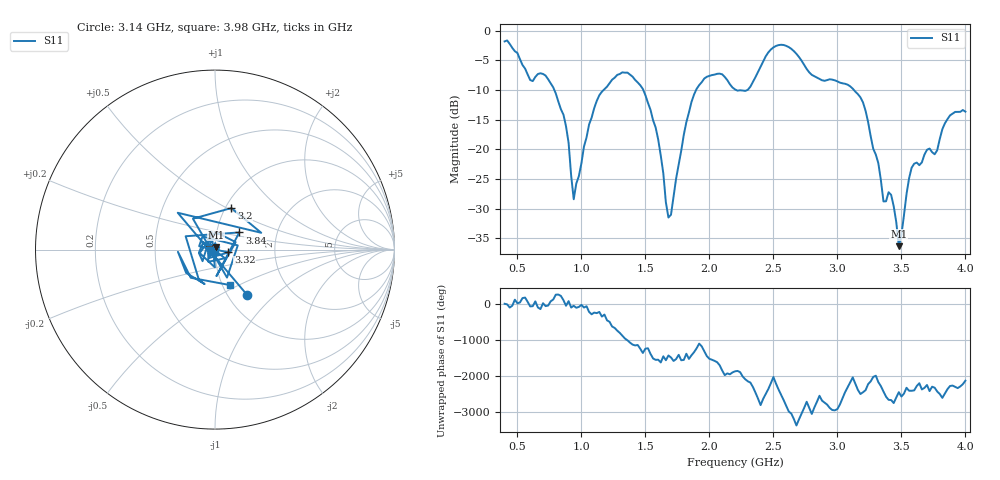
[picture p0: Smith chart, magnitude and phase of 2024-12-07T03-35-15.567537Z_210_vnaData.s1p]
!Created with skrf (http://scikit-rf.org).
# Hz S RI R 50.0
!freq ReS11 ImS11
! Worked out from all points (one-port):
!   181 points, 400 MHz to 4 GHz, reference 50 ohm
!   lowest |S11| = -36.3 dB at 3.48 GHz (marker M1), VSWR 1.03, Z = 50.5 + j1.46 ohm
!   |S11| at or under -10 dB: 788.5 MHz to 1.173 GHz (384.8 MHz wide, 39.2 % of centre); 1.483 GHz to 1.896 GHz (412.7 MHz wide, 24.4 % of centre); 3.129 GHz to end of sweep (the widest 3 of 4)
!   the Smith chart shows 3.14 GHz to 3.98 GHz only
!   S11 on the Smith chart (normalised r, x): 3.14 GHz: 1.22, -0.68; 3.2 GHz: 1.07, +0.53; 3.32 GHz: 1.16, -0.04; 3.84 GHz: 1.29, +0.25; 3.98 GHz: 1.09, -0.45
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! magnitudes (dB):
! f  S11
! 400 MHz  -1.8
! 600 MHz  -8.3
! 720 MHz  -7.6
! 860 MHz  -14.2
! 940 MHz  -28.4
! 1.12 GHz  -11.8
! 1.3 GHz  -7.3
! 1.54 GHz  -13.3
! 1.6 GHz  -18.4
! 1.68 GHz  -31.5
! 1.76 GHz  -22.6
! 1.92 GHz  -9.2
! 2.2 GHz  -9.9
! 2.3 GHz  -10.0
! 2.5 GHz  -2.8
! 2.66 GHz  -3.4
! 3.1 GHz  -9.4
! 3.14 GHz  -10.3
! 3.2 GHz  -12.1
! 3.32 GHz  -22.4
! 3.36 GHz  -28.8
! 3.42 GHz  -27.7
! 3.48 GHz  -36.3
! 3.56 GHz  -24.9
! 3.76 GHz  -20.8
! 3.84 GHz  -15.6
! 3.98 GHz  -13.4
! 4 GHz  -13.6
